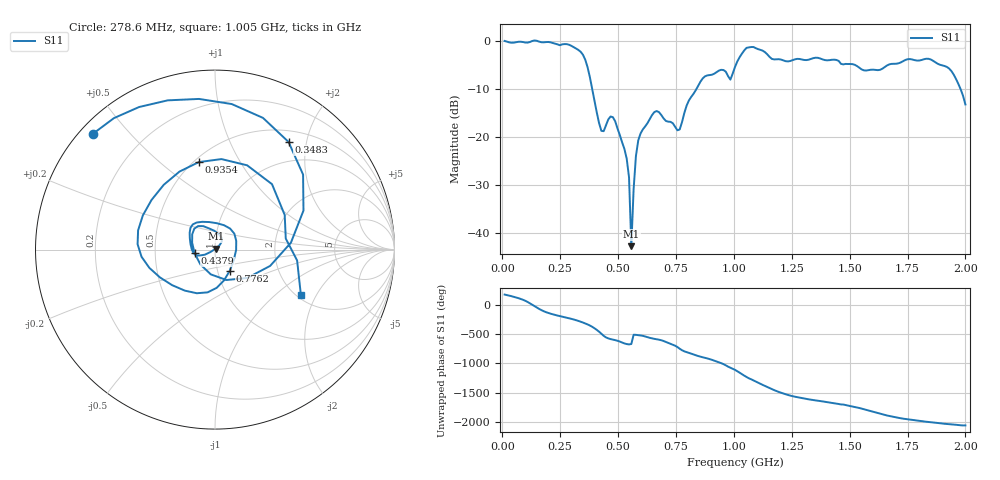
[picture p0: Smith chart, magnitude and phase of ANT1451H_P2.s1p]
!Created with skrf (http://scikit-rf.org).
# Hz S RI R 50.0
!freq ReS11 ImS11
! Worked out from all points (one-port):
!   201 points, 10 MHz to 2 GHz, reference 50 ohm
!   lowest |S11| = -42.8 dB at 557.2 MHz (marker M1), VSWR 1.01, Z = 50.5 + j0.564 ohm
!   |S11| at or under -10 dB: 388.5 MHz to 837.7 MHz (449.2 MHz wide, 73.3 % of centre); 1.98 GHz to end of sweep
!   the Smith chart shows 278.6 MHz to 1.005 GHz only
!   S11 on the Smith chart (normalised r, x): 278.6 MHz: 0.04, +0.40; 348.3 MHz: 0.67, +1.69; 437.9 MHz: 0.80, -0.03; 776.1 MHz: 1.15, -0.27; 935.4 MHz: 0.53, +0.68; 1.005 GHz: 2.11, -1.51
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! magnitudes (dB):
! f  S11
! 10 MHz  0.1
! 258.8 MHz  -0.6
! 278.6 MHz  -0.6
! 348.3 MHz  -2.8
! 417.9 MHz  -17.1
! 437.9 MHz  -18.8
! 467.7 MHz  -15.7
! 507.5 MHz  -19.6
! 537.4 MHz  -24.5
! 547.3 MHz  -28.4
! 557.2 MHz  -42.8
! 567.2 MHz  -30.9
! 577.1 MHz  -24.0
! 597 MHz  -19.3
! 666.7 MHz  -14.6
! 756.2 MHz  -18.6
! 776.1 MHz  -16.9
! 865.7 MHz  -7.7
! 935.4 MHz  -6.1
! 985.1 MHz  -8.0
! 1.005 GHz  -5.3
! 1.075 GHz  -1.2
! 1.254 GHz  -3.9
! 1.502 GHz  -4.7
! 1.622 GHz  -6.0
! 1.751 GHz  -3.7
! 1.93 GHz  -5.7
! 2 GHz  -13.2
